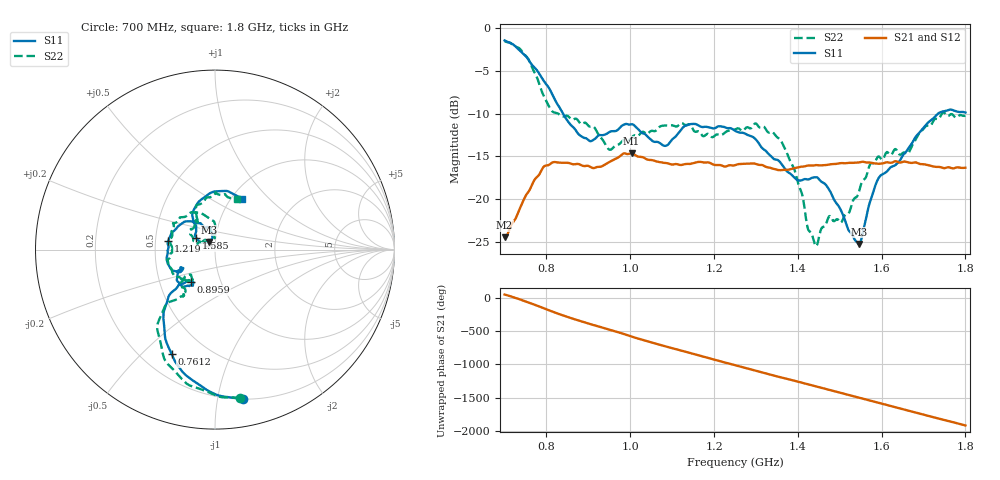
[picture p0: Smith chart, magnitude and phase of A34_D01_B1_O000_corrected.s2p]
! Created with skrf 1.9.0 (http://scikit-rf.org).
# Hz S RI R 50.0
!freq ReS11 ImS11 ReS21 ImS21 ReS12 ImS12 ReS22 ImS22
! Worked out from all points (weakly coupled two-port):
!   1601 points, 700 MHz to 1.8 GHz, reference 50 ohm
!   highest |S21| = -14.66 dB at 1.003 GHz (marker M1); lowest = -24.5 dB at 700 MHz (marker M2)
!   lowest |S11| = -25.3 dB at 1.547 GHz (marker M3), VSWR 1.12, Z = 46.5 + j3.96 ohm
!   |S11| at or under -10 dB: 839.4 MHz to 1.735 GHz (895.6 MHz wide, 69.6 % of centre)
!   |S22| runs from -25.5 to -1.5 dB; largest |S21 - S12| = 0.0037
!   S11 on the Smith chart (normalised r, x): 700 MHz: 0.20, -1.19; 761.2 MHz: 0.32, -0.62; 895.9 MHz: 0.72, -0.27; 1.219 GHz: 0.58, +0.06; 1.585 GHz: 0.81, +0.10; 1.8 GHz: 1.12, +0.71
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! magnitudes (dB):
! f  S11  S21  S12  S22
! 700 MHz  -1.4  -24.5  -24.3  -1.5
! 761.2 MHz  -4.0  -18.8  -18.7  -4.1
! 812.1 MHz  -7.6  -15.8  -15.8  -9.6
! 883.6 MHz  -12.7  -16.1  -16.0  -11.2
! 895.9 MHz  -12.9  -16.1  -16.2  -11.2
! 950.9 MHz  -12.1  -15.7  -15.7  -14.2
! 1.003 GHz  -11.3  -14.7  -14.8  -12.8
! 1.067 GHz  -13.4  -15.7  -15.6  -11.7
! 1.219 GHz  -11.5  -16.1  -16.1  -12.5
! 1.25 GHz  -12.0  -16.1  -16.0  -11.9
! 1.359 GHz  -15.8  -16.6  -16.6  -13.1
! 1.392 GHz  -17.5  -16.4  -16.4  -16.6
! 1.434 GHz  -17.5  -16.1  -16.1  -24.2
! 1.444 GHz  -17.5  -16.0  -16.1  -25.5
! 1.475 GHz  -18.9  -16.0  -16.0  -22.1
! 1.504 GHz  -21.5  -15.8  -15.8  -22.7
! 1.547 GHz  -25.3  -15.7  -15.7  -19.0
! 1.585 GHz  -18.4  -15.9  -15.9  -15.6
! 1.617 GHz  -16.5  -15.7  -15.7  -14.7
! 1.663 GHz  -14.2  -15.7  -15.7  -14.7
! 1.735 GHz  -10.0  -16.2  -16.3  -10.7
! 1.8 GHz  -9.9  -16.4  -16.3  -10.3
